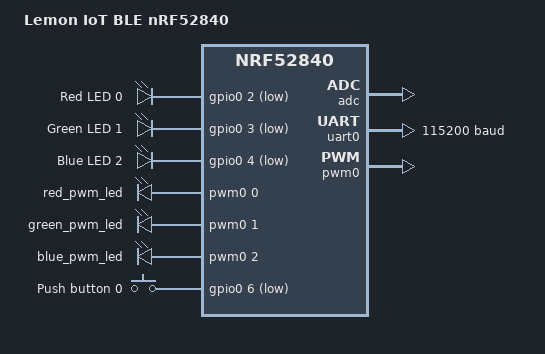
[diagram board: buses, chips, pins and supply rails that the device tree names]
/*
 * Copyright (c) 2023 Aaron Mohtar & Co Pty Ltd
 * Copyright (c) 2023 Nordic Semiconductor ASA
 * SPDX-License-Identifier: Apache-2.0
 */

/dts-v1/;
#include <nordic/nrf52840_qiaa.dtsi>
#include "lemon_iot_ble_nrf52840-pinctrl.dtsi"

/ {
	model = "Lemon IoT BLE nRF52840";
	compatible = "lemon-iot,ble-nrf52840";

	chosen {
		zephyr,console = &uart0;
		zephyr,shell-uart = &uart0;
		zephyr,uart-mcumgr = &uart0;
		zephyr,bt-mon-uart = &uart0;
		zephyr,bt-c2h-uart = &uart0;
		zephyr,sram = &sram0;
		zephyr,flash = &flash0;
		zephyr,code-partition = &slot0_partition;
	};

	leds {
		compatible = "gpio-leds";
		led0: led_0 {
			gpios = <&gpio0 2 GPIO_ACTIVE_LOW>;
			label = "Red LED 0";
		};
		led1: led_1 {
			gpios = <&gpio0 3 GPIO_ACTIVE_LOW>;
			label = "Green LED 1";
		};
		led2: led_2 {
			gpios = <&gpio0 4 GPIO_ACTIVE_LOW>;
			label = "Blue LED 2";
		};
	};

	pwmleds {
		compatible = "pwm-leds";
		red_pwm_led: pwm_led_0 {
			pwms = <&pwm0 0 PWM_MSEC(20) PWM_POLARITY_INVERTED>;
		};
		green_pwm_led: pwm_led_1 {
			pwms = <&pwm0 1 PWM_MSEC(20) PWM_POLARITY_INVERTED>;
		};
		blue_pwm_led: pwm_led_2 {
			pwms = <&pwm0 2 PWM_MSEC(20) PWM_POLARITY_INVERTED>;
		};
	};

	buttons {
		compatible = "gpio-keys";
		button0: button_0 {
			gpios = <&gpio0 6 (GPIO_PULL_UP | GPIO_ACTIVE_LOW)>;
			label = "Push button 0";
		};
	};

	/* These aliases are provided for compatibility with samples */
	aliases {
		led0 = &led0;
		led1 = &led1;
		led2 = &led2;
		pwm-led0 = &red_pwm_led;
		pwm-led1 = &green_pwm_led;
		pwm-led2 = &blue_pwm_led;
		red-pwm-led = &red_pwm_led;
		green-pwm-led = &green_pwm_led;
		blue-pwm-led = &blue_pwm_led;
		sw0 = &button0;
		bootloader-led0 = &led0;
		mcuboot-button0 = &button0;
		mcuboot-led0 = &led0;
		watchdog0 = &wdt0;
	};

};

&adc {
	status = "okay";
};

&gpiote {
	status = "okay";
};

&gpio0 {
	status = "okay";
};

&uart0 {
	status = "okay";
	compatible = "nordic,nrf-uarte";
	current-speed = <115200>;
	pinctrl-0 = <&uart0_default>;
	pinctrl-1 = <&uart0_sleep>;
	pinctrl-names = "default", "sleep";
};

&pwm0 {
	status = "okay";
	pinctrl-0 = <&pwm0_default>;
	pinctrl-1 = <&pwm0_sleep>;
	pinctrl-names = "default", "sleep";
};


&flash0 {
	partitions {
		compatible = "fixed-partitions";
		#address-cells = <1>;
		#size-cells = <1>;

		boot_partition: partition@0 {
			label = "mcuboot";
			reg = <0x0 0xc000>;
		};
		slot0_partition: partition@c000 {
			label = "image-0";
			reg = <0xc000 0x72000>;
		};
		slot1_partition: partition@7e000 {
			label = "image-1";
			reg = <0x7e000 0x72000>;
		};
		scratch_partition: partition@f0000 {
			label = "image-scratch";
			reg = <0xf0000 0xa000>;
		};
		storage_partition: partition@fa000 {
			label = "storage";
			reg = <0xfa000 0x6000>;
		};
	};
};

